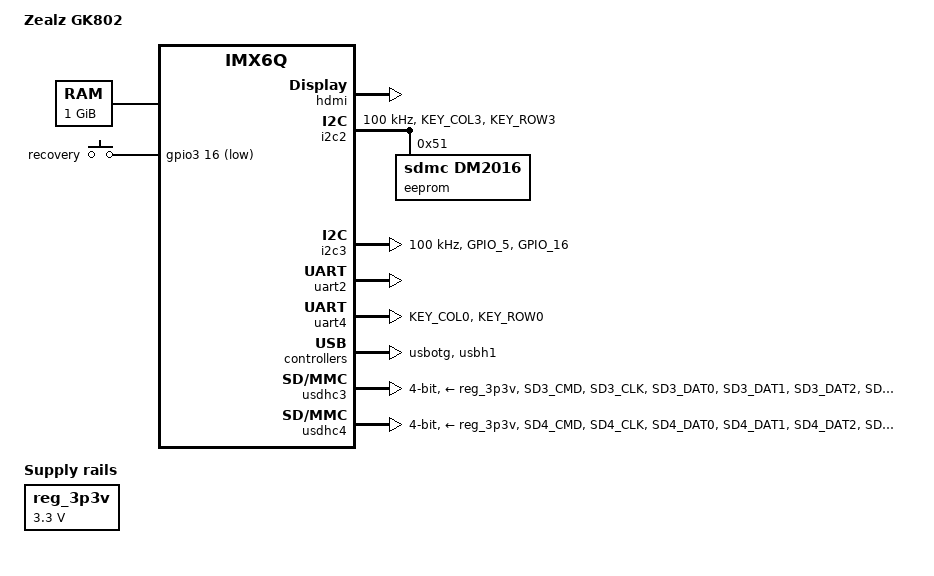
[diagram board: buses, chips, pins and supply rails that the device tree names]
/*
 * Copyright (C) 2013 Philipp Zabel
 *
 * This file is licensed under the terms of the GNU General Public License
 * version 2.  This program is licensed "as is" without any warranty of any
 * kind, whether express or implied.
 */

/dts-v1/;
#include <dt-bindings/gpio/gpio.h>
#include "imx6q.dtsi"

/ {
	model = "Zealz GK802";
	compatible = "zealz,imx6q-gk802", "fsl,imx6q";

	chosen {
		stdout-path = &uart4;
	};

	memory@10000000 {
		reg = <0x10000000 0x40000000>;
	};

	regulators {
		compatible = "simple-bus";
		#address-cells = <1>;
		#size-cells = <0>;

		reg_3p3v: regulator@0 {
			compatible = "regulator-fixed";
			reg = <0>;
			regulator-name = "3P3V";
			regulator-min-microvolt = <3300000>;
			regulator-max-microvolt = <3300000>;
			regulator-always-on;
		};
	};

	gpio-keys {
		compatible = "gpio-keys";

		recovery-button {
			label = "recovery";
			gpios = <&gpio3 16 1>;
			linux,code = <0x198>; /* KEY_RESTART */
			wakeup-source;
		};
	};
};

&hdmi {
	ddc-i2c-bus = <&i2c3>;
	status = "okay";
};

/* Internal I2C */
&i2c2 {
	pinctrl-names = "default";
	pinctrl-0 = <&pinctrl_i2c2>;
	clock-frequency = <100000>;
	status = "okay";

	/* SDMC DM2016 1024 bit EEPROM + 128 bit OTP */
	eeprom: dm2016@51 {
		compatible = "sdmc,dm2016";
		reg = <0x51>;
	};
};

/* External I2C via HDMI */
&i2c3 {
	pinctrl-names = "default";
	pinctrl-0 = <&pinctrl_i2c3>;
	clock-frequency = <100000>;
	status = "okay";
};

&iomuxc {
	pinctrl-names = "default";
	pinctrl-0 = <&pinctrl_hog>;

	imx6q-gk802 {
		pinctrl_hog: hoggrp {
			fsl,pins = <
				/* Recovery button, active-low */
				MX6QDL_PAD_EIM_D16__GPIO3_IO16  0x100b1
				/* RTL8192CU enable GPIO, active-low */
				MX6QDL_PAD_NANDF_D0__GPIO2_IO00 0x1b0b0
			>;
		};

		pinctrl_i2c2: i2c2grp {
			fsl,pins = <
				MX6QDL_PAD_KEY_COL3__I2C2_SCL		0x4001b8b1
				MX6QDL_PAD_KEY_ROW3__I2C2_SDA		0x4001b8b1
			>;
		};

		pinctrl_i2c3: i2c3grp {
			fsl,pins = <
				MX6QDL_PAD_GPIO_5__I2C3_SCL		0x4001b8b1
				MX6QDL_PAD_GPIO_16__I2C3_SDA		0x4001b8b1
			>;
		};

		pinctrl_uart4: uart4grp {
			fsl,pins = <
				MX6QDL_PAD_KEY_COL0__UART4_TX_DATA	0x1b0b1
				MX6QDL_PAD_KEY_ROW0__UART4_RX_DATA	0x1b0b1
			>;
		};

		pinctrl_usdhc3: usdhc3grp {
			fsl,pins = <
				MX6QDL_PAD_SD3_CMD__SD3_CMD		0x17059
				MX6QDL_PAD_SD3_CLK__SD3_CLK		0x10059
				MX6QDL_PAD_SD3_DAT0__SD3_DATA0		0x17059
				MX6QDL_PAD_SD3_DAT1__SD3_DATA1		0x17059
				MX6QDL_PAD_SD3_DAT2__SD3_DATA2		0x17059
				MX6QDL_PAD_SD3_DAT3__SD3_DATA3		0x17059
			>;
		};

		pinctrl_usdhc4: usdhc4grp {
			fsl,pins = <
				MX6QDL_PAD_SD4_CMD__SD4_CMD		0x17059
				MX6QDL_PAD_SD4_CLK__SD4_CLK		0x10059
				MX6QDL_PAD_SD4_DAT0__SD4_DATA0		0x17059
				MX6QDL_PAD_SD4_DAT1__SD4_DATA1		0x17059
				MX6QDL_PAD_SD4_DAT2__SD4_DATA2		0x17059
				MX6QDL_PAD_SD4_DAT3__SD4_DATA3		0x17059
			>;
		};
	};
};

&uart2 {
	status = "okay";
};

&uart4 {
	pinctrl-names = "default";
	pinctrl-0 = <&pinctrl_uart4>;
	status = "okay";
};

/* External USB-A port (USBOTG) */
&usbotg {
	disable-over-current;
	status = "okay";
};

/* Internal USB port (USBH1), connected to RTL8192CU */
&usbh1 {
	disable-over-current;
	status = "okay";
};

/* External microSD */
&usdhc3 {
	pinctrl-names = "default";
	pinctrl-0 = <&pinctrl_usdhc3>;
	bus-width = <4>;
	cd-gpios = <&gpio6 11 GPIO_ACTIVE_LOW>;
	vmmc-supply = <&reg_3p3v>;
	status = "okay";
};

/* Internal microSD */
&usdhc4 {
	pinctrl-names = "default";
	pinctrl-0 = <&pinctrl_usdhc4>;
	bus-width = <4>;
	vmmc-supply = <&reg_3p3v>;
	status = "okay";
};
